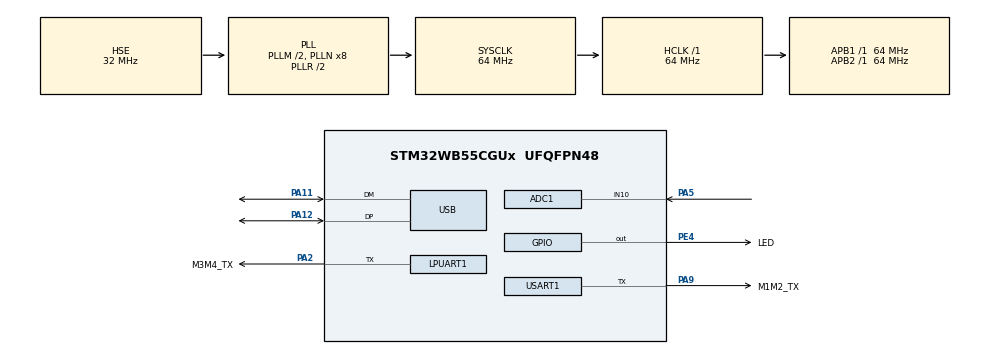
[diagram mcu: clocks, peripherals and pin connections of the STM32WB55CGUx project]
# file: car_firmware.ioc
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ADC1.Channel-3\#ChannelRegularConversion=ADC_CHANNEL_10
ADC1.ClockPrescaler=ADC_CLOCK_ASYNC_DIV8
ADC1.ContinuousConvMode=ENABLE
ADC1.NbrOfConversionFlag=1
ADC1.OffsetNumber-3\#ChannelRegularConversion=ADC_OFFSET_NONE
ADC1.Rank-3\#ChannelRegularConversion=1
ADC1.SamplingTime-3\#ChannelRegularConversion=ADC_SAMPLETIME_24CYCLES_5
ADC1.master=1
Dma.ADC1.2.Direction=DMA_PERIPH_TO_MEMORY
Dma.ADC1.2.EventEnable=DISABLE
Dma.ADC1.2.Instance=DMA1_Channel3
Dma.ADC1.2.MemDataAlignment=DMA_MDATAALIGN_HALFWORD
Dma.ADC1.2.MemInc=DMA_MINC_ENABLE
Dma.ADC1.2.Mode=DMA_CIRCULAR
Dma.ADC1.2.PeriphDataAlignment=DMA_PDATAALIGN_HALFWORD
Dma.ADC1.2.PeriphInc=DMA_PINC_DISABLE
Dma.ADC1.2.Polarity=HAL_DMAMUX_REQ_GEN_RISING
Dma.ADC1.2.Priority=DMA_PRIORITY_LOW
Dma.ADC1.2.RequestNumber=1
Dma.ADC1.2.SignalID=NONE
Dma.ADC1.2.SyncEnable=DISABLE
Dma.ADC1.2.SyncPolarity=HAL_DMAMUX_SYNC_NO_EVENT
Dma.ADC1.2.SyncRequestNumber=1
Dma.ADC1.2.SyncSignalID=NONE
Dma.LPUART1_TX.1.Direction=DMA_MEMORY_TO_PERIPH
Dma.LPUART1_TX.1.EventEnable=DISABLE
Dma.LPUART1_TX.1.Instance=DMA1_Channel2
Dma.LPUART1_TX.1.MemDataAlignment=DMA_MDATAALIGN_BYTE
Dma.LPUART1_TX.1.MemInc=DMA_MINC_ENABLE
Dma.LPUART1_TX.1.Mode=DMA_CIRCULAR
Dma.LPUART1_TX.1.PeriphDataAlignment=DMA_PDATAALIGN_BYTE
Dma.LPUART1_TX.1.PeriphInc=DMA_PINC_DISABLE
Dma.LPUART1_TX.1.Polarity=HAL_DMAMUX_REQ_GEN_RISING
Dma.LPUART1_TX.1.Priority=DMA_PRIORITY_LOW
Dma.LPUART1_TX.1.RequestNumber=1
Dma.LPUART1_TX.1.SignalID=NONE
Dma.LPUART1_TX.1.SyncEnable=DISABLE
Dma.LPUART1_TX.1.SyncPolarity=HAL_DMAMUX_SYNC_NO_EVENT
Dma.LPUART1_TX.1.SyncRequestNumber=1
Dma.LPUART1_TX.1.SyncSignalID=NONE
Dma.Request0=USART1_TX
Dma.Request1=LPUART1_TX
Dma.Request2=ADC1
Dma.USART1_TX.0.Direction=DMA_MEMORY_TO_PERIPH
Dma.USART1_TX.0.EventEnable=DISABLE
Dma.USART1_TX.0.Instance=DMA1_Channel1
Dma.USART1_TX.0.MemDataAlignment=DMA_MDATAALIGN_BYTE
Dma.USART1_TX.0.MemInc=DMA_MINC_ENABLE
Dma.USART1_TX.0.Mode=DMA_CIRCULAR
Dma.USART1_TX.0.PeriphDataAlignment=DMA_PDATAALIGN_BYTE
Dma.USART1_TX.0.PeriphInc=DMA_PINC_DISABLE
Dma.USART1_TX.0.Polarity=HAL_DMAMUX_REQ_GEN_RISING
Dma.USART1_TX.0.Priority=DMA_PRIORITY_HIGH
Dma.USART1_TX.0.RequestNumber=1
Dma.USART1_TX.0.SignalID=NONE
Dma.USART1_TX.0.SyncEnable=DISABLE
Dma.USART1_TX.0.SyncPolarity=HAL_DMAMUX_SYNC_NO_EVENT
Dma.USART1_TX.0.SyncRequestNumber=1
Dma.USART1_TX.0.SyncSignalID=NONE
LPUART1.Mode=UART_MODE_TX
Mcu.Family=STM32WB
Mcu.Name=STM32WB55CGUx
Mcu.Package=UFQFPN48
NVIC.ADC1_IRQn=true\:0\:0\:false\:false\:true\:true\:true\:true
NVIC.DMA1_Channel1_IRQn=true\:0\:0\:false\:false\:true\:false\:true\:true
NVIC.DMA1_Channel2_IRQn=true\:0\:0\:false\:false\:true\:false\:true\:true
NVIC.DMA1_Channel3_IRQn=true\:0\:0\:false\:false\:true\:false\:true\:true
NVIC.HSEM_IRQn=true\:0\:0\:false\:false\:true\:false\:true\:true
NVIC.LPUART1_IRQn=true\:0\:0\:false\:false\:true\:true\:true\:true
NVIC.PriorityGroup=NVIC_PRIORITYGROUP_4
NVIC.USART1_IRQn=true\:0\:0\:false\:false\:true\:true\:true\:true
NVIC.USB_HP_IRQn=true\:0\:0\:false\:false\:true\:true\:true\:true
NVIC.USB_LP_IRQn=true\:0\:0\:false\:false\:true\:true\:true\:true
OSC_IN.Mode=HSE-External-Oscillator
OSC_IN.Signal=RCC_OSC_IN
OSC_OUT.Mode=HSE-External-Oscillator
OSC_OUT.Signal=RCC_OSC_OUT
PA11.GPIO_Speed=GPIO_SPEED_FREQ_VERY_HIGH
PA11.Mode=Device
PA11.Signal=USB_DM
PA12.GPIO_Speed=GPIO_SPEED_FREQ_VERY_HIGH
PA12.Mode=Device
PA12.Signal=USB_DP
PA2.GPIO_Label=M3M4_TX
PA2.GPIO_Speed=GPIO_SPEED_FREQ_HIGH
PA2.Mode=Half_duplex(single_wire_mode)
PA2.Signal=LPUART1_TX
PA5.Signal=ADCx_IN10
PA9.GPIO_Label=M1M2_TX
PA9.GPIO_Speed=GPIO_SPEED_FREQ_VERY_HIGH
PA9.Mode=Half_duplex(single_wire_mode)
PA9.Signal=USART1_TX
PC14-OSC32_IN.Mode=LSE-External-Oscillator
PC14-OSC32_IN.Signal=RCC_OSC32_IN
PC15-OSC32_OUT.Mode=LSE-External-Oscillator
PC15-OSC32_OUT.Signal=RCC_OSC32_OUT
PE4.GPIO_Label=LED
PE4.GPIO_Speed=GPIO_SPEED_FREQ_HIGH
PE4.PinState=GPIO_PIN_RESET
PE4.Signal=GPIO_Output
ProjectManager.HeapSize=0x800
ProjectManager.StackSize=0x800
ProjectManager.TargetToolchain=CMake
RCC.ADCFreq_Value=48000000
RCC.AHB2CLKDivider=RCC_SYSCLK_DIV2
RCC.AHBFreq_Value=64000000
RCC.APB1Freq_Value=64000000
RCC.APB1TimFreq_Value=64000000
RCC.APB2Freq_Value=64000000
RCC.APB2TimFreq_Value=64000000
RCC.APB3Freq_Value=16000000
RCC.CortexFreq_Value=64000000
RCC.HCLKFreq_Value=64000000
RCC.HSE_VALUE=32000000
RCC.HSI48_VALUE=48000000
RCC.HSI_VALUE=16000000
RCC.PLLM=RCC_PLLM_DIV2
RCC.PLLSAI1N=6
RCC.PLLSourceVirtual=RCC_PLLSOURCE_HSE
RCC.SYSCLKFreq_VALUE=64000000
RCC.SYSCLKSource=RCC_SYSCLKSOURCE_PLLCLK
RCC.USBFreq_Value=48000000
RCC.VCOOutputFreq_Value=128000000
RF1.Mode=RF1_Activate
RF1.Signal=RF_RF1
SH.ADCx_IN10.0=ADC1_IN10,IN10-Single-Ended
STM32_WPAN.ADV_FILTER=NO_WHITE_LIST_USE
STM32_WPAN.ADV_TYPE=ADV_IND
STM32_WPAN.AD_TYPE_COMPLETE_LOCAL_NAME=OBSV
STM32_WPAN.AD_TYPE_COMPLETE_LOCAL_NAME_LENGTH=5
STM32_WPAN.AD_TYPE_MANUFACTURER_DATA_1=67
STM32_WPAN.AD_TYPE_MANUFACTURER_SPECIFIC_DATA_COMPANY_IDENTIFIER=94,62
STM32_WPAN.AD_TYPE_SHORTENED_LOCAL_NAME=OBSV
STM32_WPAN.CFG_BLE_NUM_GATT_SERVICES=3
STM32_WPAN.CFG_BLE_NUM_LINK=1
STM32_WPAN.CFG_BONDING_MODE=1
STM32_WPAN.CFG_GAP_DEVICE_NAME=OBSERVE_BODY
STM32_WPAN.CFG_GAP_DEVICE_NAME_LENGTH=12
STM32_WPAN.CFG_IDENTITY_ADDRESS=GAP_STATIC_RANDOM_ADDR
STM32_WPAN.CFG_IO_CAPABILITY=\ CFG_IO_CAPABILITY_NO_INPUT_NO_OUTPUT
STM32_WPAN.CFG_LSCLK_LSE=0
STM32_WPAN.CFG_MITM_PROTECTION=CFG_MITM_PROTECTION_REQUIRED
STM32_WPAN.CFG_PRIVACY=PRIVACY_ENABLED
STM32_WPAN.CFG_SC_SUPPORT=CFG_SECURE_MANDATORY
STM32_WPAN.CFG_TX_POWER=(0x1F) /* 6dBm */
STM32_WPAN.CFG_USED_FIXED_PIN=0
STM32_WPAN.CFG_USE_SMPS=0
STM32_WPAN.CUSTOM_P2P_SERVER=Disabled
STM32_WPAN.CUSTOM_TEMPLATE=Enabled
STM32_WPAN.INCLUDE_AD_TYPE_COMPLETE_LOCAL_NAME=0
STM32_WPAN.INCLUDE_AD_TYPE_MANUFACTURER_SPECIFIC_DATA=1
STM32_WPAN.INCLUDE_AD_TYPE_SHORTENED_LOCAL_NAME=1
STM32_WPAN.NUMBER_OF_SERVICES=5
STM32_WPAN.PAIRING_PARAMETERS=ON
STM32_WPAN.SERVICE1_CHAR1_ATTR_PERMISSION_ENCRY_READ=ATTR_PERMISSION_ENCRY_READ
STM32_WPAN.SERVICE1_CHAR1_ATTR_PERMISSION_ENCRY_WRITE=ATTR_PERMISSION_ENCRY_WRITE
STM32_WPAN.SERVICE1_CHAR1_LONG_NAME=PORT
STM32_WPAN.SERVICE1_CHAR1_PROP_READ=CHAR_PROP_READ
STM32_WPAN.SERVICE1_CHAR1_PROP_WRITE_WITHOUT_RESP=CHAR_PROP_WRITE_WITHOUT_RESP
STM32_WPAN.SERVICE1_CHAR1_SHORT_NAME=P1
STM32_WPAN.SERVICE1_CHAR1_UUID=00 01
STM32_WPAN.SERVICE1_CHAR1_UUID_TYPE=0x01
STM32_WPAN.SERVICE1_LONG_NAME=MOTOR1_SVC
STM32_WPAN.SERVICE1_NUMBER_OF_CHARACTERISTICS=1
STM32_WPAN.SERVICE1_SHORT_NAME=MOT1_SVC
STM32_WPAN.SERVICE1_UUID=00 01
STM32_WPAN.SERVICE1_UUID_TYPE=0x01
STM32_WPAN.SERVICE2_CHAR1_ATTR_PERMISSION_ENCRY_READ=ATTR_PERMISSION_ENCRY_READ
STM32_WPAN.SERVICE2_CHAR1_ATTR_PERMISSION_ENCRY_WRITE=ATTR_PERMISSION_ENCRY_WRITE
STM32_WPAN.SERVICE2_CHAR1_LONG_NAME=PORT2
STM32_WPAN.SERVICE2_CHAR1_PROP_READ=CHAR_PROP_READ
STM32_WPAN.SERVICE2_CHAR1_PROP_WRITE_WITHOUT_RESP=CHAR_PROP_WRITE_WITHOUT_RESP
STM32_WPAN.SERVICE2_CHAR1_SHORT_NAME=P2
STM32_WPAN.SERVICE2_CHAR1_UUID=00 01
STM32_WPAN.SERVICE2_CHAR1_UUID_TYPE=0x01
STM32_WPAN.SERVICE2_LONG_NAME=MOTOR2_SVC
STM32_WPAN.SERVICE2_SHORT_NAME=MOT2_SVC
STM32_WPAN.SERVICE2_UUID=00 02
STM32_WPAN.SERVICE2_UUID_TYPE=0x01
STM32_WPAN.SERVICE3_CHAR1_ATTR_PERMISSION_ENCRY_READ=ATTR_PERMISSION_ENCRY_READ
STM32_WPAN.SERVICE3_CHAR1_ATTR_PERMISSION_ENCRY_WRITE=ATTR_PERMISSION_ENCRY_WRITE
STM32_WPAN.SERVICE3_CHAR1_LONG_NAME=PORT3
STM32_WPAN.SERVICE3_CHAR1_PROP_READ=CHAR_PROP_READ
STM32_WPAN.SERVICE3_CHAR1_PROP_WRITE_WITHOUT_RESP=CHAR_PROP_WRITE_WITHOUT_RESP
STM32_WPAN.SERVICE3_CHAR1_SHORT_NAME=P3
STM32_WPAN.SERVICE3_CHAR1_UUID=00 01
STM32_WPAN.SERVICE3_CHAR1_UUID_TYPE=0x01
STM32_WPAN.SERVICE3_LONG_NAME=MOTOR3_SVC
STM32_WPAN.SERVICE3_SHORT_NAME=MOT3_SVC
STM32_WPAN.SERVICE3_UUID=00 03
STM32_WPAN.SERVICE3_UUID_TYPE=0x01
STM32_WPAN.SERVICE4_CHAR1_ATTR_PERMISSION_ENCRY_READ=ATTR_PERMISSION_ENCRY_READ
STM32_WPAN.SERVICE4_CHAR1_ATTR_PERMISSION_ENCRY_WRITE=ATTR_PERMISSION_ENCRY_WRITE
STM32_WPAN.SERVICE4_CHAR1_LONG_NAME=PORT4
STM32_WPAN.SERVICE4_CHAR1_PROP_READ=CHAR_PROP_READ
STM32_WPAN.SERVICE4_CHAR1_PROP_WRITE_WITHOUT_RESP=CHAR_PROP_WRITE_WITHOUT_RESP
STM32_WPAN.SERVICE4_CHAR1_SHORT_NAME=P4
STM32_WPAN.SERVICE4_CHAR1_UUID=00 01
STM32_WPAN.SERVICE4_CHAR1_UUID_TYPE=0x01
STM32_WPAN.SERVICE4_LONG_NAME=MOTOR4_SVC
STM32_WPAN.SERVICE4_SHORT_NAME=MOT4_SVC
STM32_WPAN.SERVICE4_UUID=00 04
STM32_WPAN.SERVICE4_UUID_TYPE=0x01
STM32_WPAN.SERVICE5_CHAR1_ATTR_PERMISSION_ENCRY_READ=ATTR_PERMISSION_ENCRY_READ
STM32_WPAN.SERVICE5_CHAR1_LONG_NAME=VOLTAGE_READ
STM32_WPAN.SERVICE5_CHAR1_PROP_READ=CHAR_PROP_READ
STM32_WPAN.SERVICE5_CHAR1_SHORT_NAME=V_READ
STM32_WPAN.SERVICE5_CHAR1_UUID=00 01
STM32_WPAN.SERVICE5_CHAR1_UUID_TYPE=0x01
STM32_WPAN.SERVICE5_LONG_NAME=Voltage_SVC
STM32_WPAN.SERVICE5_SHORT_NAME=V_SVC
STM32_WPAN.SERVICE5_UUID=00 0A
STM32_WPAN.SERVICE5_UUID_TYPE=0x01
USART1.BaudRate=9600
USART1.Mode=MODE_TX
USART1.VirtualMode-Half_duplex(single_wire_mode)=VM_ASYNC
USB_DEVICE.CLASS_NAME_FS=CDC
USB_DEVICE.VirtualMode=Cdc
USB_DEVICE.VirtualModeFS=Cdc_FS
VP_HSEM_VS_HSEM.Mode=HSEM_Activate
VP_IPCC_VS_IPCC.Mode=IPCC_Activate
VP_MEMORYMAP_VS_MEMORYMAP.Mode=CurAppReg
VP_RTC_VS_RTC_Activate.Mode=RTC_Enabled
VP_SEQUENCER_VS_SEQUENCER.Mode=SEQUENCER_Enabled
VP_STM32_WPAN_VS_BLE_HOST.Mode=STM32_WPAN_Enabled
VP_TINY_LPM_VS_TINY_LPM.Mode=TINY_LPM_Enabled
VP_USB_DEVICE_VS_USB_DEVICE_CDC_FS.Mode=CDC_FS
board=custom

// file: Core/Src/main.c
/* USER CODE BEGIN Header */
/**
  ******************************************************************************
  * @file           : main.c
  * @brief          : Main program body
  ******************************************************************************
  * @attention
  *
  * Copyright (c) 2026 STMicroelectronics.
  * All rights reserved.
  *
  * This software is licensed under terms that can be found in the LICENSE file
  * in the root directory of this software component.
  * If no LICENSE file comes with this software, it is provided AS-IS.
  *
  ******************************************************************************
  */
/* USER CODE END Header */
#include "main.h"
#include "usb_device.h"

/* USER CODE BEGIN Includes */
#include "usbd_cdc_if.h"

/* USER CODE END Includes */

ADC_HandleTypeDef hadc1;
DMA_HandleTypeDef hdma_adc1;

IPCC_HandleTypeDef hipcc;

UART_HandleTypeDef hlpuart1;
UART_HandleTypeDef huart1;
DMA_HandleTypeDef hdma_lpuart1_tx;
DMA_HandleTypeDef hdma_usart1_tx;

RTC_HandleTypeDef hrtc;

/* USER CODE BEGIN PV */
volatile uint8_t USB_RX_BUF[2048] = {0};
volatile uint8_t USB_TX_BUF[2048] = {0};

volatile motor_pack_t motor1A = {.add = 128};
volatile motor_pack_t motor1B = {.add = 128};
volatile motor_pack_t motor2A = {.add = 128};
volatile motor_pack_t motor2B = {.add = 128};

volatile UART_HandleTypeDef* motor1_UART = &huart1;
volatile UART_HandleTypeDef* motor2_UART = &hlpuart1;
/* USER CODE END PV */

void SystemClock_Config(void);
void PeriphCommonClock_Config(void);
static void MX_GPIO_Init(void);
static void MX_DMA_Init(void);
static void MX_IPCC_Init(void);
static void MX_RTC_Init(void);
static void MX_USART1_UART_Init(void);
static void MX_LPUART1_UART_Init(void);
static void MX_ADC1_Init(void);
static void MX_RF_Init(void);

int main(void)
{

  /* MCU Configuration--------------------------------------------------------*/

  /* Reset of all peripherals, Initializes the Flash interface and the Systick. */
  HAL_Init();
  /* Config code for STM32_WPAN (HSE Tuning must be done before system clock configuration) */
  MX_APPE_Config();

  /* Configure the system clock */
  SystemClock_Config();

  /* Configure the peripherals common clocks */
  PeriphCommonClock_Config();

  /* IPCC initialisation */
  MX_IPCC_Init();

  /* Initialize all configured peripherals */
  MX_GPIO_Init();
  MX_DMA_Init();
  MX_RTC_Init();
  MX_USART1_UART_Init();
  MX_LPUART1_UART_Init();
  MX_ADC1_Init();
  MX_USB_Device_Init();
  MX_RF_Init();
  /* USER CODE BEGIN 2 */
  motor_set_minV(&motor1A, 0);
  motor_check(&motor1A);
  HAL_UART_Transmit(motor1_UART, (uint8_t*)&motor1A, 4, HAL_MAX_DELAY);

  motor_set_minV(&motor2A, 0);
  motor_check(&motor2A);
  HAL_UART_Transmit(motor2_UART, (uint8_t*)&motor2A, 4, HAL_MAX_DELAY);
  /* USER CODE END 2 */

  /* Init code for STM32_WPAN */
  MX_APPE_Init();

  /* Infinite loop */
  while (1)
  {
    MX_APPE_Process();

  }
}

void SystemClock_Config(void)
{
  RCC_OscInitTypeDef RCC_OscInitStruct = {0};
  RCC_ClkInitTypeDef RCC_ClkInitStruct = {0};

  /** Configure the main internal regulator output voltage
  */
  __HAL_PWR_VOLTAGESCALING_CONFIG(PWR_REGULATOR_VOLTAGE_SCALE1);

  /** Initializes the RCC Oscillators according to the specified parameters
  * in the RCC_OscInitTypeDef structure.
  */
  RCC_OscInitStruct.OscillatorType = RCC_OSCILLATORTYPE_HSI|RCC_OSCILLATORTYPE_LSI1
                              |RCC_OSCILLATORTYPE_HSE;
  RCC_OscInitStruct.HSEState = RCC_HSE_ON;
  RCC_OscInitStruct.HSIState = RCC_HSI_ON;
  RCC_OscInitStruct.HSICalibrationValue = RCC_HSICALIBRATION_DEFAULT;
  RCC_OscInitStruct.LSIState = RCC_LSI_ON;
  RCC_OscInitStruct.PLL.PLLState = RCC_PLL_ON;
  RCC_OscInitStruct.PLL.PLLSource = RCC_PLLSOURCE_HSE;
  RCC_OscInitStruct.PLL.PLLM = RCC_PLLM_DIV2;
  RCC_OscInitStruct.PLL.PLLN = 8;
  RCC_OscInitStruct.PLL.PLLP = RCC_PLLP_DIV2;
  RCC_OscInitStruct.PLL.PLLR = RCC_PLLR_DIV2;
  RCC_OscInitStruct.PLL.PLLQ = RCC_PLLQ_DIV2;
  if (HAL_RCC_OscConfig(&RCC_OscInitStruct) != HAL_OK)
  {
    Error_Handler();
  }

  /** Configure the SYSCLKSource, HCLK, PCLK1 and PCLK2 clocks dividers
  */
  RCC_ClkInitStruct.ClockType = RCC_CLOCKTYPE_HCLK4|RCC_CLOCKTYPE_HCLK2
                              |RCC_CLOCKTYPE_HCLK|RCC_CLOCKTYPE_SYSCLK
                              |RCC_CLOCKTYPE_PCLK1|RCC_CLOCKTYPE_PCLK2;
  RCC_ClkInitStruct.SYSCLKSource = RCC_SYSCLKSOURCE_PLLCLK;
  RCC_ClkInitStruct.AHBCLKDivider = RCC_SYSCLK_DIV1;
  RCC_ClkInitStruct.APB1CLKDivider = RCC_HCLK_DIV1;
  RCC_ClkInitStruct.APB2CLKDivider = RCC_HCLK_DIV1;
  RCC_ClkInitStruct.AHBCLK2Divider = RCC_SYSCLK_DIV2;
  RCC_ClkInitStruct.AHBCLK4Divider = RCC_SYSCLK_DIV1;

  if (HAL_RCC_ClockConfig(&RCC_ClkInitStruct, FLASH_LATENCY_3) != HAL_OK)
  {
    Error_Handler();
  }
}

void PeriphCommonClock_Config(void)
{
  RCC_PeriphCLKInitTypeDef PeriphClkInitStruct = {0};

  /** Initializes the peripherals clock
  */
  PeriphClkInitStruct.PeriphClockSelection = RCC_PERIPHCLK_SMPS|RCC_PERIPHCLK_RFWAKEUP
                              |RCC_PERIPHCLK_USB|RCC_PERIPHCLK_ADC;
  PeriphClkInitStruct.PLLSAI1.PLLN = 6;
  PeriphClkInitStruct.PLLSAI1.PLLP = RCC_PLLP_DIV2;
  PeriphClkInitStruct.PLLSAI1.PLLQ = RCC_PLLQ_DIV2;
  PeriphClkInitStruct.PLLSAI1.PLLR = RCC_PLLR_DIV2;
  PeriphClkInitStruct.PLLSAI1.PLLSAI1ClockOut = RCC_PLLSAI1_USBCLK|RCC_PLLSAI1_ADCCLK;
  PeriphClkInitStruct.UsbClockSelection = RCC_USBCLKSOURCE_PLLSAI1;
  PeriphClkInitStruct.AdcClockSelection = RCC_ADCCLKSOURCE_PLLSAI1;
  PeriphClkInitStruct.RFWakeUpClockSelection = RCC_RFWKPCLKSOURCE_HSE_DIV1024;
  PeriphClkInitStruct.SmpsClockSelection = RCC_SMPSCLKSOURCE_HSI;
  PeriphClkInitStruct.SmpsDivSelection = RCC_SMPSCLKDIV_RANGE1;

  if (HAL_RCCEx_PeriphCLKConfig(&PeriphClkInitStruct) != HAL_OK)
  {
    Error_Handler();
  }
}

static void MX_ADC1_Init(void)
{

  ADC_ChannelConfTypeDef sConfig = {0};

  /** Common config
  */
  hadc1.Instance = ADC1;
  hadc1.Init.ClockPrescaler = ADC_CLOCK_ASYNC_DIV8;
  hadc1.Init.Resolution = ADC_RESOLUTION_12B;
  hadc1.Init.DataAlign = ADC_DATAALIGN_RIGHT;
  hadc1.Init.ScanConvMode = ADC_SCAN_DISABLE;
  hadc1.Init.EOCSelection = ADC_EOC_SINGLE_CONV;
  hadc1.Init.LowPowerAutoWait = DISABLE;
  hadc1.Init.ContinuousConvMode = ENABLE;
  hadc1.Init.NbrOfConversion = 1;
  hadc1.Init.DiscontinuousConvMode = DISABLE;
  hadc1.Init.ExternalTrigConv = ADC_SOFTWARE_START;
  hadc1.Init.ExternalTrigConvEdge = ADC_EXTERNALTRIGCONVEDGE_NONE;
  hadc1.Init.DMAContinuousRequests = DISABLE;
  hadc1.Init.Overrun = ADC_OVR_DATA_PRESERVED;
  hadc1.Init.OversamplingMode = DISABLE;
  if (HAL_ADC_Init(&hadc1) != HAL_OK)
  {
    Error_Handler();
  }

  /** Configure Regular Channel
  */
  sConfig.Channel = ADC_CHANNEL_10;
  sConfig.Rank = ADC_REGULAR_RANK_1;
  sConfig.SamplingTime = ADC_SAMPLETIME_24CYCLES_5;
  sConfig.SingleDiff = ADC_SINGLE_ENDED;
  sConfig.OffsetNumber = ADC_OFFSET_NONE;
  sConfig.Offset = 0;
  if (HAL_ADC_ConfigChannel(&hadc1, &sConfig) != HAL_OK)
  {
    Error_Handler();
  }

}

static void MX_IPCC_Init(void)
{

  hipcc.Instance = IPCC;
  if (HAL_IPCC_Init(&hipcc) != HAL_OK)
  {
    Error_Handler();
  }

}

static void MX_LPUART1_UART_Init(void)
{

  hlpuart1.Instance = LPUART1;
  hlpuart1.Init.BaudRate = 209700;
  hlpuart1.Init.WordLength = UART_WORDLENGTH_8B;
  hlpuart1.Init.StopBits = UART_STOPBITS_1;
  hlpuart1.Init.Parity = UART_PARITY_NONE;
  hlpuart1.Init.Mode = UART_MODE_TX;
  hlpuart1.Init.HwFlowCtl = UART_HWCONTROL_NONE;
  hlpuart1.Init.OneBitSampling = UART_ONE_BIT_SAMPLE_DISABLE;
  hlpuart1.Init.ClockPrescaler = UART_PRESCALER_DIV1;
  hlpuart1.AdvancedInit.AdvFeatureInit = UART_ADVFEATURE_NO_INIT;
  if (HAL_HalfDuplex_Init(&hlpuart1) != HAL_OK)
  {
    Error_Handler();
  }
  if (HAL_UARTEx_SetTxFifoThreshold(&hlpuart1, UART_TXFIFO_THRESHOLD_1_8) != HAL_OK)
  {
    Error_Handler();
  }
  if (HAL_UARTEx_SetRxFifoThreshold(&hlpuart1, UART_RXFIFO_THRESHOLD_1_8) != HAL_OK)
  {
    Error_Handler();
  }
  if (HAL_UARTEx_DisableFifoMode(&hlpuart1) != HAL_OK)
  {
    Error_Handler();
  }

}

static void MX_USART1_UART_Init(void)
{

  huart1.Instance = USART1;
  huart1.Init.BaudRate = 9600;
  huart1.Init.WordLength = UART_WORDLENGTH_8B;
  huart1.Init.StopBits = UART_STOPBITS_1;
  huart1.Init.Parity = UART_PARITY_NONE;
  huart1.Init.Mode = UART_MODE_TX;
  huart1.Init.HwFlowCtl = UART_HWCONTROL_NONE;
  huart1.Init.OverSampling = UART_OVERSAMPLING_16;
  huart1.Init.OneBitSampling = UART_ONE_BIT_SAMPLE_DISABLE;
  huart1.Init.ClockPrescaler = UART_PRESCALER_DIV1;
  huart1.AdvancedInit.AdvFeatureInit = UART_ADVFEATURE_NO_INIT;
  if (HAL_HalfDuplex_Init(&huart1) != HAL_OK)
  {
    Error_Handler();
  }
  if (HAL_UARTEx_SetTxFifoThreshold(&huart1, UART_TXFIFO_THRESHOLD_1_8) != HAL_OK)
  {
    Error_Handler();
  }
  if (HAL_UARTEx_SetRxFifoThreshold(&huart1, UART_RXFIFO_THRESHOLD_1_8) != HAL_OK)
  {
    Error_Handler();
  }
  if (HAL_UARTEx_DisableFifoMode(&huart1) != HAL_OK)
  {
    Error_Handler();
  }

}

static void MX_RF_Init(void)
{

}

static void MX_RTC_Init(void)
{

  /** Initialize RTC Only
  */
  hrtc.Instance = RTC;
  hrtc.Init.HourFormat = RTC_HOURFORMAT_24;
  hrtc.Init.AsynchPrediv = CFG_RTC_ASYNCH_PRESCALER;
  hrtc.Init.SynchPrediv = CFG_RTC_SYNCH_PRESCALER;
  hrtc.Init.OutPut = RTC_OUTPUT_DISABLE;
  hrtc.Init.OutPutPolarity = RTC_OUTPUT_POLARITY_HIGH;
  hrtc.Init.OutPutType = RTC_OUTPUT_TYPE_OPENDRAIN;
  hrtc.Init.OutPutRemap = RTC_OUTPUT_REMAP_NONE;
  if (HAL_RTC_Init(&hrtc) != HAL_OK)
  {
    Error_Handler();
  }

}

static void MX_DMA_Init(void)
{

  /* DMA controller clock enable */
  __HAL_RCC_DMAMUX1_CLK_ENABLE();
  __HAL_RCC_DMA1_CLK_ENABLE();

  /* DMA interrupt init */
  /* DMA1_Channel1_IRQn interrupt configuration */
  HAL_NVIC_SetPriority(DMA1_Channel1_IRQn, 0, 0);
  HAL_NVIC_EnableIRQ(DMA1_Channel1_IRQn);
  /* DMA1_Channel2_IRQn interrupt configuration */
  HAL_NVIC_SetPriority(DMA1_Channel2_IRQn, 0, 0);
  HAL_NVIC_EnableIRQ(DMA1_Channel2_IRQn);
  /* DMA1_Channel3_IRQn interrupt configuration */
  HAL_NVIC_SetPriority(DMA1_Channel3_IRQn, 0, 0);
  HAL_NVIC_EnableIRQ(DMA1_Channel3_IRQn);

}

static void MX_GPIO_Init(void)
{
  GPIO_InitTypeDef GPIO_InitStruct = {0};

  /* GPIO Ports Clock Enable */
  __HAL_RCC_GPIOC_CLK_ENABLE();
  __HAL_RCC_GPIOA_CLK_ENABLE();
  __HAL_RCC_GPIOE_CLK_ENABLE();

  /*Configure GPIO pin Output Level */
  HAL_GPIO_WritePin(LED_GPIO_Port, LED_Pin, GPIO_PIN_RESET);

  /*Configure GPIO pin : LED_Pin */
  GPIO_InitStruct.Pin = LED_Pin;
  GPIO_InitStruct.Mode = GPIO_MODE_OUTPUT_PP;
  GPIO_InitStruct.Pull = GPIO_NOPULL;
  GPIO_InitStruct.Speed = GPIO_SPEED_FREQ_HIGH;
  HAL_GPIO_Init(LED_GPIO_Port, &GPIO_InitStruct);

}

void Error_Handler(void)
{
  __disable_irq();
  while (1)
  {
  }
}
